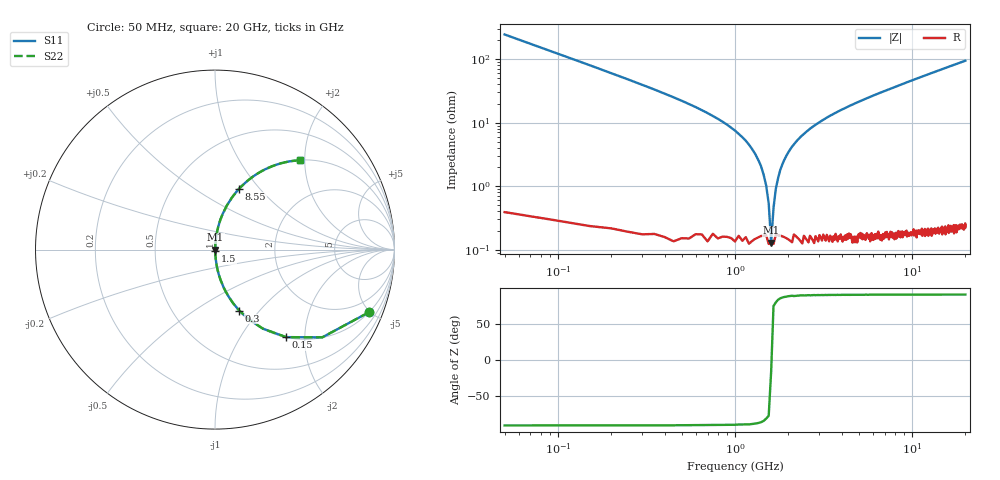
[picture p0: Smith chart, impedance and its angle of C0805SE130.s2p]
! AVX Thin Film Operation		Date: April 2012
! Description: Accu-P® Series, Thin Film, SMD, RF Capacitor
! Part Number: 08051K130FBTTR
!	50	MHz	-	20.05	GHz
!	Serial	Measurements
#	MHZ	S	MA	R	50
!	S11	S21	S12	S22
!	dB	Phase	dB	Phase	dB	Phase	dB	Phase
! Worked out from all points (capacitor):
!   400 points, 50 MHz to 20 GHz, reference 50 ohm
!   read as one part in series: C = 13 pF near 150 MHz
!   lowest |Z| = 129 mohm at 1.6 GHz (marker M1)
!   series resonance near 1.604 GHz, so ESL is about 760 pH
!   S11 on the Smith chart (normalised r, x): 50 MHz: 1.01, -4.89; 150 MHz: 1.00, -1.62; 300 MHz: 1.00, -0.79; 1.5 GHz: 1.00, -0.02; 8.55 GHz: 1.00, +0.79; 20 GHz: 1.01, +1.89
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50  0.925 -22.2  0.378 67.7  0.378 67.7  0.925 -22.2
100  0.772 -39.3  0.633 50.6  0.633 50.6  0.772 -39.3
150  0.628 -50.9  0.776 38.9  0.776 38.9  0.628 -50.9
300  0.366 -68.3  0.929 21.5  0.929 21.5  0.366 -68.3
650  0.155 -80.5  0.986 8.9  0.986 8.9  0.155 -80.5
1200  0.045 -85.5  0.998 2.6  0.998 2.6  0.045 -85.5
1400  0.021 -84.8  0.998 1.2  0.998 1.2  0.021 -84.8
1500  0.01 -81.2  0.998 0.6  0.998 0.6  0.01 -81.2
1550  0.005396 -73.9  0.999 0.3  0.999 0.3  0.005396 -73.9
1600  0.001514 -13.3  0.999 0.0  0.999 0.0  0.001514 -13.3
1650  0.004585 71.0  0.999 -0.2  0.999 -0.2  0.004585 71.0
1700  0.009019 80.1  0.998 -0.5  0.998 -0.5  0.009019 80.1
1800  0.018 84.2  0.998 -1.0  0.998 -1.0  0.018 84.2
2000  0.034 85.6  0.998 -1.9  0.998 -1.9  0.034 85.6
2500  0.07 84.8  0.996 -4.0  0.996 -4.0  0.07 84.8
3400  0.125 82.1  0.991 -7.2  0.991 -7.2  0.125 82.1
6700  0.288 73.0  0.956 -16.7  0.956 -16.7  0.288 73.0
8550  0.365 68.3  0.929 -21.4  0.929 -21.4  0.365 68.3
10050  0.422 64.8  0.905 -25.0  0.905 -25.0  0.422 64.8
13350  0.53 57.8  0.846 -32.0  0.846 -32.0  0.53 57.8
16700  0.618 51.7  0.785 -38.2  0.785 -38.2  0.618 51.7
20000  0.686 46.5  0.726 -43.3  0.726 -43.3  0.686 46.5
